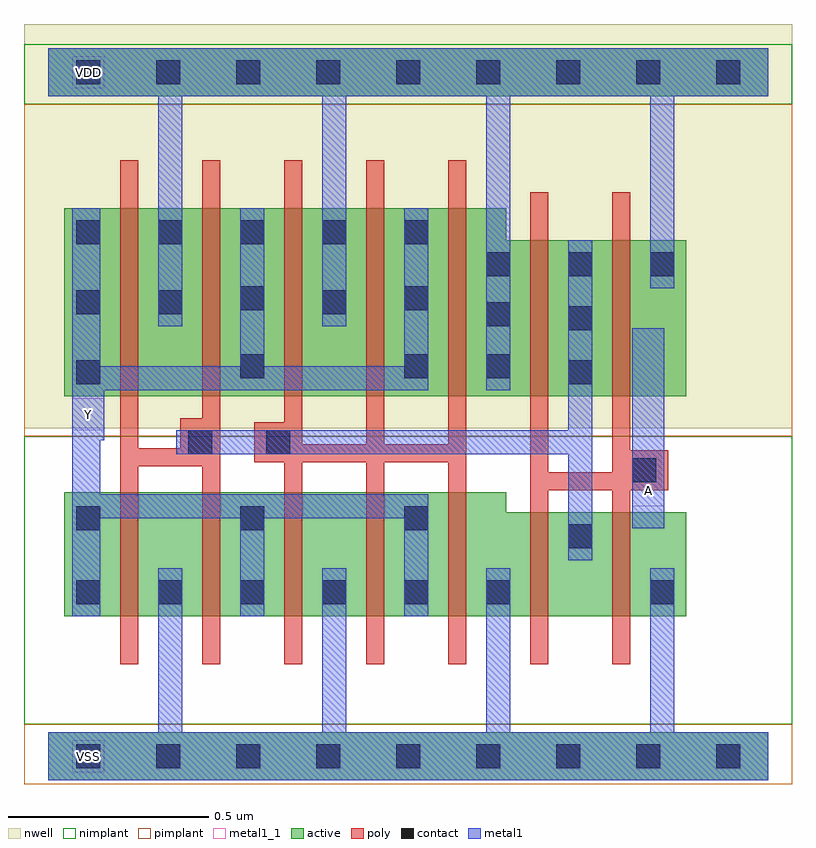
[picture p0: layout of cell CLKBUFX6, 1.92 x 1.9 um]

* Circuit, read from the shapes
.subckt CLKBUFX6 A VDD VSS Y
M1 VSS n1 Y VSS nfet w=0.31u l=0.045u m=5
M2 n1 A VSS VSS nfet w=0.26u l=0.045u m=2
M3 VDD n1 Y VDD pfet w=0.47u l=0.045u m=5
M4 n1 A VDD VDD pfet w=0.39u l=0.045u m=2
.ends

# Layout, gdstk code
import gdstk
lib = gdstk.Library(unit=1e-6, precision=5e-10)
def R(c, l, rs):  # rectangles x0, y0, x1, y1
    for r in rs: c.add(gdstk.rectangle(r[:2], r[2:], *l))
def A(c, l, x, y, w, h, nx, ny, dx, dy):  # array of equal rectangles
    R(c, l, [(x+i*dx, y+j*dy, x+i*dx+w, y+j*dy+h) for i in range(nx) for j in range(ny)])
def P(c, l, *ps):  # polygons
    for p in ps: c.add(gdstk.Polygon(p, *l))
active = (1, 0)
nwell = (2, 0)
poly = (3, 0)
nimplant = (4, 0)
pimplant = (5, 0)
contact = (6, 0)
metal1 = (7, 0)
metal1_1 = (7, 1)

clkbufx6 = lib.new_cell('CLKBUFX6')
R(clkbufx6, active, [(0,-0.06,1.8,0.06), (0,1.65,1.8,1.77)])
P(clkbufx6, active, [(0.04,1.37),(1.145,1.37),(1.145,1.29),(1.595,1.29),(1.595,0.9),(0.04,0.9)],
  [(0.04,0.66),(1.145,0.66),(1.145,0.61),(1.595,0.61),(1.595,0.35),(0.04,0.35)])
R(clkbufx6, nwell, [(-0.06,0.82,1.86,1.83)])
P(clkbufx6, poly, [(0.18,1.49),(0.225,1.49),(0.225,0.77),(0.33,0.77),(0.33,0.845),(0.385,0.845),(0.385,1.49),(0.43,1.49),(0.43,0.23),(0.385,0.23),(0.385,0.725),(0.225,0.725),(0.225,0.23),(0.18,0.23)],
  [(0.59,1.49),(0.635,1.49),(0.635,0.78),(0.795,0.78),(0.795,1.49),(0.84,1.49),(0.84,0.78),(1,0.78),(1,1.49),(1.045,1.49),(1.045,0.23),(1,0.23),(1,0.735),(0.84,0.735),(0.84,0.23),(0.795,0.23),(0.795,0.735),(0.635,0.735),(0.635,0.23),(0.59,0.23),(0.59,0.735),(0.515,0.735),(0.515,0.835),(0.59,0.835)],
  [(1.205,1.41),(1.25,1.41),(1.25,0.71),(1.41,0.71),(1.41,1.41),(1.455,1.41),(1.455,0.765),(1.55,0.765),(1.55,0.665),(1.455,0.665),(1.455,0.23),(1.41,0.23),(1.41,0.665),(1.25,0.665),(1.25,0.23),(1.205,0.23)])
R(clkbufx6, nimplant, [(-0.06,0.08,1.86,0.8), (-0.06,1.63,1.86,1.78)])
R(clkbufx6, pimplant, [(-0.06,-0.07,1.86,0.08), (-0.06,0.8,1.86,1.63)])
A(clkbufx6, contact, 0.07, -0.03, 0.06, 0.06, 9, 2, 0.2, 1.71)
A(clkbufx6, contact, 0.07, 0.38, 0.06, 0.06, 6, 1, 0.205, 0)
A(clkbufx6, contact, 0.07, 0.565, 0.06, 0.06, 3, 1, 0.41, 0)
A(clkbufx6, contact, 1.095, 1.2, 0.06, 0.06, 3, 1, 0.205, 0)
A(clkbufx6, contact, 0.07, 1.28, 0.06, 0.06, 5, 1, 0.205, 0)
R(clkbufx6, contact, [(1.505,0.38,1.565,0.44), (1.3,0.52,1.36,0.58), (1.46,0.685,1.52,0.745), (0.35,0.755,0.41,0.815), (0.545,0.755,0.605,0.815), (0.07,0.93,0.13,0.99), (1.3,0.93,1.36,0.99), (0.48,0.945,0.54,1.005), (0.89,0.945,0.95,1.005), (1.095,0.945,1.155,1.005), (1.3,1.065,1.36,1.125), (1.095,1.075,1.155,1.135), (0.07,1.105,0.13,1.165), (0.275,1.105,0.335,1.165), (0.685,1.105,0.745,1.165), (0.48,1.115,0.54,1.175), (0.89,1.115,0.95,1.175)])
R(clkbufx6, metal1, [(1.46,0.57,1.54,1.07)])
P(clkbufx6, metal1, [(0,1.77),(1.8,1.77),(1.8,1.65),(1.565,1.65),(1.565,1.17),(1.505,1.17),(1.505,1.65),(1.155,1.65),(1.155,0.915),(1.095,0.915),(1.095,1.65),(0.745,1.65),(0.745,1.075),(0.685,1.075),(0.685,1.65),(0.335,1.65),(0.335,1.075),(0.275,1.075),(0.275,1.65),(0,1.65)],
  [(0.06,1.37),(0.13,1.37),(0.13,0.975),(0.48,0.975),(0.48,1.37),(0.54,1.37),(0.54,0.975),(0.89,0.975),(0.89,1.37),(0.95,1.37),(0.95,0.915),(0.14,0.915),(0.14,0.79),(0.13,0.79),(0.13,0.655),(0.95,0.655),(0.95,0.35),(0.89,0.35),(0.89,0.595),(0.54,0.595),(0.54,0.35),(0.48,0.35),(0.48,0.595),(0.13,0.595),(0.13,0.35),(0.06,0.35)],
  [(1.3,1.29),(1.36,1.29),(1.36,0.49),(1.3,0.49),(1.3,0.755),(0.32,0.755),(0.32,0.815),(1.3,0.815)],
  [(0.275,0.47),(0.335,0.47),(0.335,0.06),(0.685,0.06),(0.685,0.47),(0.745,0.47),(0.745,0.06),(1.095,0.06),(1.095,0.47),(1.155,0.47),(1.155,0.06),(1.505,0.06),(1.505,0.47),(1.565,0.47),(1.565,0.06),(1.8,0.06),(1.8,-0.06),(0,-0.06),(0,0.06),(0.275,0.06)])
A(clkbufx6, metal1_1, 0.06, -0.04, 0.08, 0.08, 1, 3, 0, 0.855)
R(clkbufx6, metal1_1, [(1.46,0.625,1.54,0.705)])
clkbufx6.add(gdstk.Label('VSS', (0.1,0), layer=7, texttype=1))
clkbufx6.add(gdstk.Label('VDD', (0.1,1.71), layer=7, texttype=1))
clkbufx6.add(gdstk.Label('A', (1.5,0.665), layer=7, texttype=1))
clkbufx6.add(gdstk.Label('Y', (0.1,0.855), layer=7, texttype=1))
clkbufx6.add(gdstk.Label('CLKBUFX6', (0,0), layer=63, texttype=0))

lib.write_gds('CLKBUFX6.gds')
